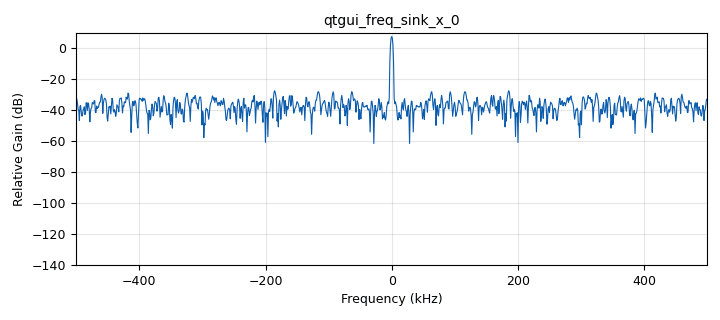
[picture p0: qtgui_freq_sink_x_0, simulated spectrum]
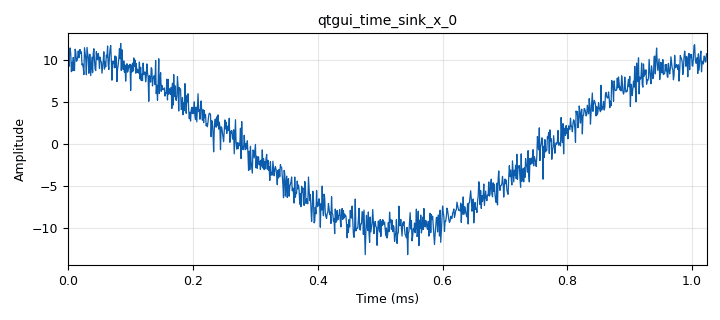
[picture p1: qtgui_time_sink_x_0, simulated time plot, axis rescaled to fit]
<?xml version='1.0' encoding='utf-8'?>
<?grc format='1' created='3.7.10'?>
<flow_graph>
<block>
<key>options</key>
<param><key>id</key><value>example4</value></param>
<param><key>author</key><value>Alexandros-Apostolos A. Boulogeorgos</value></param>
<param><key>generate_options</key><value>qt_gui</value></param>
</block>
<block>
<key>variable_qtgui_range</key>
<param><key>id</key><value>amp</value></param>
<param><key>value</key><value>10</value></param>
<param><key>gui_hint</key><value>1,0,1,1</value></param>
<param><key>label</key><value>Signal Amplitude</value></param>
<param><key>orient</key><value>Qt.Horizontal</value></param>
<param><key>start</key><value>0</value></param>
<param><key>step</key><value>1</value></param>
<param><key>stop</key><value>100</value></param>
</block>
<block>
<key>variable_qtgui_range</key>
<param><key>id</key><value>fr</value></param>
<param><key>value</key><value>1000</value></param>
<param><key>gui_hint</key><value>0,0,1,1</value></param>
<param><key>label</key><value>Frequency</value></param>
<param><key>orient</key><value>Qt.Horizontal</value></param>
<param><key>start</key><value>-500000</value></param>
<param><key>step</key><value>100</value></param>
<param><key>stop</key><value>500000</value></param>
</block>
<block>
<key>variable_qtgui_range</key>
<param><key>id</key><value>noise_voltage</value></param>
<param><key>value</key><value>1</value></param>
<param><key>gui_hint</key><value>1,1,1,1</value></param>
<param><key>label</key><value>Noise Amplitude</value></param>
<param><key>orient</key><value>Qt.Horizontal</value></param>
<param><key>start</key><value>0</value></param>
<param><key>step</key><value>1</value></param>
<param><key>stop</key><value>100</value></param>
</block>
<block>
<key>variable</key>
<param><key>id</key><value>samp_rate</value></param>
<param><key>value</key><value>1000000</value></param>
</block>
<block>
<key>variable_qtgui_chooser</key>
<param><key>id</key><value>waveform1</value></param>
<param><key>value</key><value>102</value></param>
<param><key>gui_hint</key><value>0,1,1,1</value></param>
<param><key>label0</key><value>Sine</value></param>
<param><key>label1</key><value>Cosine</value></param>
<param><key>label2</key><value>Rectangular</value></param>
<param><key>label3</key><value>Triangular</value></param>
<param><key>label4</key><value>Saw tooth</value></param>
<param><key>label</key><value>Waveform of signal source 1</value></param>
<param><key>num_opts</key><value>5</value></param>
<param><key>option0</key><value>101</value></param>
<param><key>option1</key><value>102</value></param>
<param><key>option2</key><value>103</value></param>
<param><key>option3</key><value>104</value></param>
<param><key>option4</key><value>105</value></param>
<param><key>type</key><value>int</value></param>
</block>
<block>
<key>analog_noise_source_x</key>
<param><key>id</key><value>analog_noise_source_x_0</value></param>
<param><key>amp</key><value>noise_voltage</value></param>
<param><key>noise_type</key><value>analog.GR_GAUSSIAN</value></param>
<param><key>type</key><value>float</value></param>
<param><key>seed</key><value>0</value></param>
</block>
<block>
<key>analog_sig_source_x</key>
<param><key>id</key><value>analog_sig_source_x_0</value></param>
<param><key>amp</key><value>amp</value></param>
<param><key>freq</key><value>fr</value></param>
<param><key>offset</key><value>0</value></param>
<param><key>type</key><value>float</value></param>
<param><key>samp_rate</key><value>samp_rate</value></param>
<param><key>waveform</key><value>waveform1</value></param>
</block>
<block>
<key>audio_sink</key>
<param><key>id</key><value>audio_sink_0</value></param>
<param><key>samp_rate</key><value>samp_rate</value></param>
</block>
<block>
<key>blocks_add_xx</key>
<param><key>id</key><value>blocks_add_xx_0</value></param>
<param><key>type</key><value>float</value></param>
</block>
<block>
<key>blocks_throttle</key>
<param><key>id</key><value>blocks_throttle_0</value></param>
<param><key>samples_per_second</key><value>samp_rate</value></param>
<param><key>type</key><value>float</value></param>
</block>
<block>
<key>qtgui_freq_sink_x</key>
<param><key>id</key><value>qtgui_freq_sink_x_0</value></param>
<param><key>bw</key><value>samp_rate</value></param>
<param><key>fc</key><value>0</value></param>
<param><key>fftsize</key><value>1024</value></param>
<param><key>showports</key><value>True</value></param>
<param><key>type</key><value>float</value></param>
<param><key>wintype</key><value>firdes.WIN_BLACKMAN_hARRIS</value></param>
</block>
<block>
<key>qtgui_sink_x</key>
<param><key>id</key><value>qtgui_sink_x_0</value></param>
<param><key>bw</key><value>samp_rate</value></param>
<param><key>fc</key><value>0</value></param>
<param><key>freqchangevar</key><value>None</value></param>
<param><key>_enabled</key><value>0</value></param>
<param><key>fftsize</key><value>1024</value></param>
<param><key>showports</key><value>True</value></param>
<param><key>type</key><value>float</value></param>
<param><key>wintype</key><value>firdes.WIN_BLACKMAN_hARRIS</value></param>
</block>
<block>
<key>qtgui_time_sink_x</key>
<param><key>id</key><value>qtgui_time_sink_x_0</value></param>
<param><key>color1</key><value>"blue"</value></param>
<param><key>label1</key><value></value></param>
<param><key>size</key><value>1024</value></param>
<param><key>srate</key><value>samp_rate</value></param>
<param><key>type</key><value>float</value></param>
<param><key>ymax</key><value>amp</value></param>
<param><key>ymin</key><value>-amp</value></param>
</block>
<connection><source_block_id>analog_noise_source_x_0</source_block_id><sink_block_id>blocks_add_xx_0</sink_block_id><source_key>0</source_key><sink_key>1</sink_key></connection>
<connection><source_block_id>analog_sig_source_x_0</source_block_id><sink_block_id>blocks_add_xx_0</sink_block_id><source_key>0</source_key><sink_key>0</sink_key></connection>
<connection><source_block_id>blocks_add_xx_0</source_block_id><sink_block_id>audio_sink_0</sink_block_id><source_key>0</source_key><sink_key>0</sink_key></connection>
<connection><source_block_id>blocks_add_xx_0</source_block_id><sink_block_id>blocks_throttle_0</sink_block_id><source_key>0</source_key><sink_key>0</sink_key></connection>
<connection><source_block_id>blocks_throttle_0</source_block_id><sink_block_id>qtgui_freq_sink_x_0</sink_block_id><source_key>0</source_key><sink_key>0</sink_key></connection>
<connection><source_block_id>blocks_throttle_0</source_block_id><sink_block_id>qtgui_sink_x_0</sink_block_id><source_key>0</source_key><sink_key>0</sink_key></connection>
<connection><source_block_id>blocks_throttle_0</source_block_id><sink_block_id>qtgui_time_sink_x_0</sink_block_id><source_key>0</source_key><sink_key>0</sink_key></connection>
</flow_graph>
